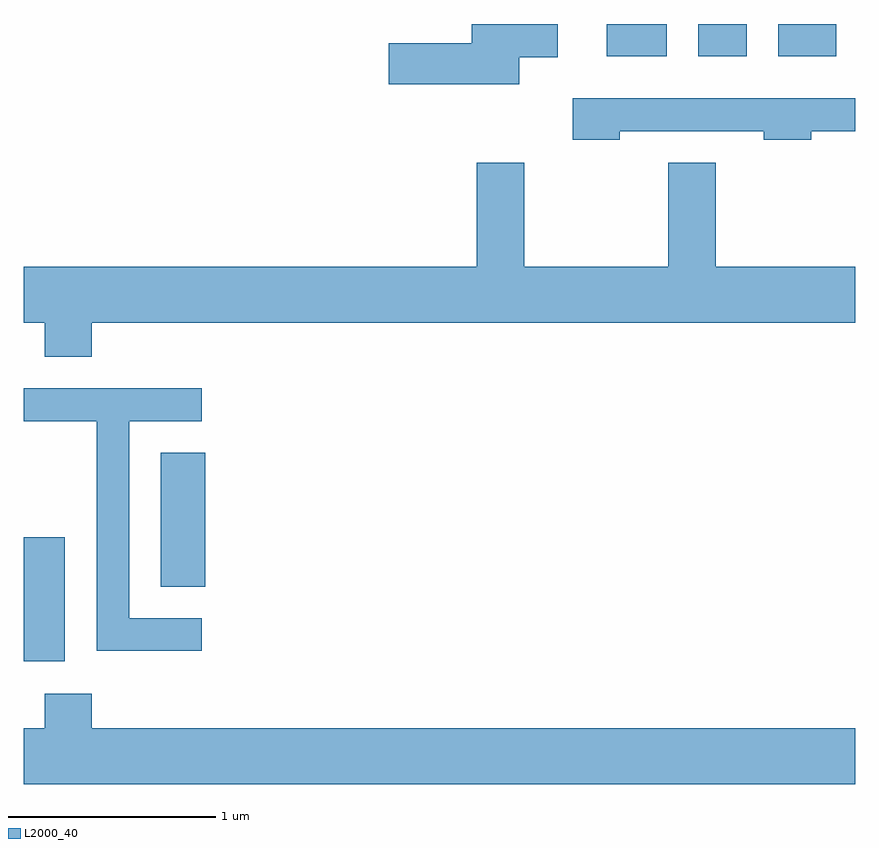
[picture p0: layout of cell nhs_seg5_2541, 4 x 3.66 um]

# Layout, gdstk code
import gdstk
lib = gdstk.Library(unit=1e-6, precision=1e-09)
def R(c, l, rs):  # rectangles x0, y0, x1, y1
    for r in rs: c.add(gdstk.rectangle(r[:2], r[2:], *l))
def P(c, l, *ps):  # polygons
    for p in ps: c.add(gdstk.Polygon(p, *l))
L2000_40 = (2000, 40)

nhs_seg5_2541 = lib.new_cell('nhs_seg5_2541')
R(nhs_seg5_2541, L2000_40, [(261.611,1393.006,261.809,1393.604), (262.271,1393.366,262.484,1394.009), (264.416,1395.916,264.704,1396.072), (264.856,1395.916,265.089,1396.072), (265.241,1395.916,265.519,1396.072)])
P(nhs_seg5_2541, L2000_40, [(263.994,1395.911),(264.179,1395.911),(264.179,1396.072),(263.766,1396.072),(263.766,1395.979),(263.366,1395.979),(263.366,1395.781),(263.994,1395.781)],
  [(264.479,1395.556),(265.171,1395.556),(265.171,1395.516),(265.399,1395.516),(265.399,1395.556),(265.611,1395.556),(265.611,1395.714),(264.251,1395.714),(264.251,1395.516),(264.479,1395.516)],
  [(264.711,1395.404),(264.711,1394.904),(264.019,1394.904),(264.019,1395.404),(263.791,1395.404),(263.791,1394.904),(261.611,1394.904),(261.611,1394.636),(261.711,1394.636),(261.711,1394.471),(261.939,1394.471),(261.939,1394.636),(265.611,1394.636),(265.611,1394.904),(264.939,1394.904),(264.939,1395.404)],
  [(262.468,1393.214),(262.119,1393.214),(262.119,1394.161),(262.468,1394.161),(262.468,1394.319),(261.611,1394.319),(261.611,1394.161),(261.961,1394.161),(261.961,1393.056),(262.468,1393.056)],
  [(265.611,1392.684),(261.939,1392.684),(261.939,1392.849),(261.711,1392.849),(261.711,1392.684),(261.611,1392.684),(261.611,1392.416),(265.611,1392.416)])

lib.write_gds('nhs_seg5_2541.gds')
